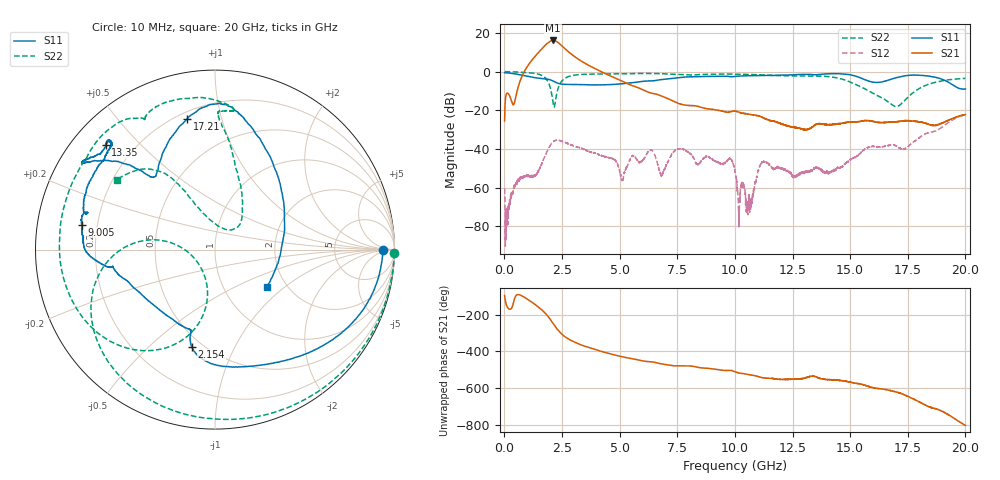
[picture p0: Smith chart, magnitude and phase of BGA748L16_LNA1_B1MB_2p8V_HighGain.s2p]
! S-Parameter file
! MATLAB S2P writer
! (c) DICE Linz
! Infineon Technologies
! Date: 08.04.2010 12:36
!BGA748L16_final_HB
!2.80V; 2.80V;
!25.00 deg
# MHZ S MA R 50
!  S11  S21  S12  S22
!  f  mag  angle  mag  angle  mag  angle  mag  angle
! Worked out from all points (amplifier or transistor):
!   4001 points, 10 MHz to 20 GHz, reference 50 ohm
!   highest |S21| = 16.1 dB at 2.109 GHz (marker M1)
!   |S21| within 3 dB of that: 1.73 GHz to 2.515 GHz (785.1 MHz wide, 37 % of centre)
!   unconditionally stable (mu >= 1): start of sweep to 11.72 MHz; 17.44 MHz to end of sweep
!   at 3.338 GHz: K = 5.69, MAG = 12.0 dB, |S12| = -39.7 dB
!   at 10.01 GHz: K = 224.65, MAG = -10.9 dB, |S12| = -51.6 dB
!   at 20 GHz: K = 39.50, MAG = -19.0 dB, |S12| = -22.1 dB
!   lowest NFmin = 0.89 dB at 2.14 GHz
!   S11 on the Smith chart (normalised r, x): 10 MHz: 30, -2; 2.154 GHz: 0.44, -0.69; 9.005 GHz: 0.14, +0.09; 13.35 GHz: 0.10, +0.40; 17.21 GHz: 0.24, +0.78; 20 GHz: 1.60, -0.76
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10  0.9355 -0.2  0.05341 -97.3  0.0009557 -74.6  0.9998 -1.1
839.585  0.7903 -44.6  0.9448 -103.8  0.002023 84.1  0.9572 -78.1
1444.283  0.6834 -71.4  2.962 -155.8  0.002543 116.1  0.8704 -131.1
1659.175  0.6634 -80.6  4.091 -178.4  0.004688 132.5  0.7813 -151.9
1854.078  0.6414 -90.0  5.347 155.6  0.008706 124.9  0.6024 -173.7
2108.95  0.5744 -102.0  6.398 111.8  0.0153 93.9  0.1621 -178.2
2153.927  0.5582 -103.4  6.365 103.6  0.01585 87.6  0.1206 -146.6
2348.83  0.4961 -106.1  5.525 71.4  0.01687 61.5  0.3959 -101.4
2533.738  0.4732 -106.2  4.423 48.4  0.01566 43.2  0.6061 -116.0
2873.568  0.4658 -108.3  2.94 20.0  0.01285 24.6  0.7756 -138.8
3343.332  0.462 -114.2  1.865 -5.9  0.01044 10.2  0.8461 -160.8
4717.645  0.468 -142.3  0.7203 -57.9  0.005458 -5.5  0.8777 156.7
6676.665  0.6082 -171.0  0.252 -104.9  0.003503 -7.7  0.8889 127.3
9005.5  0.7547 169.4  0.1064 -135.3  0.005461 0.7  0.8575 113.4
10005  0.751 164.5  0.09557 -151.4  0.002621 -72.7  0.8616 103.5
10584.71  0.7827 158.1  0.07982 -166.8  0.0002672 63.3  0.8527 96.2
11209.4  0.7969 148.2  0.06543 175.2  0.00469 93.7  0.8235 87.9
13338.33  0.8423 136.3  0.03638 -175.5  0.002928 -61.5  0.7728 87.2
13348.33  0.8416 136.3  0.0369 -175.5  0.002867 -66.7  0.7724 87.1
16671.67  0.6078 118.9  0.04927 108.2  0.01256 62.8  0.1621 46.3
17206.4  0.7458 101.9  0.05306 90.8  0.01011 21.6  0.1459 90.3
20000  0.3569 -35.3  0.07765 -83.9  0.07861 -99.1  0.668 144.6
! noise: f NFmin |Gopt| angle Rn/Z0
2140  0.89  0.38  101  6.4
